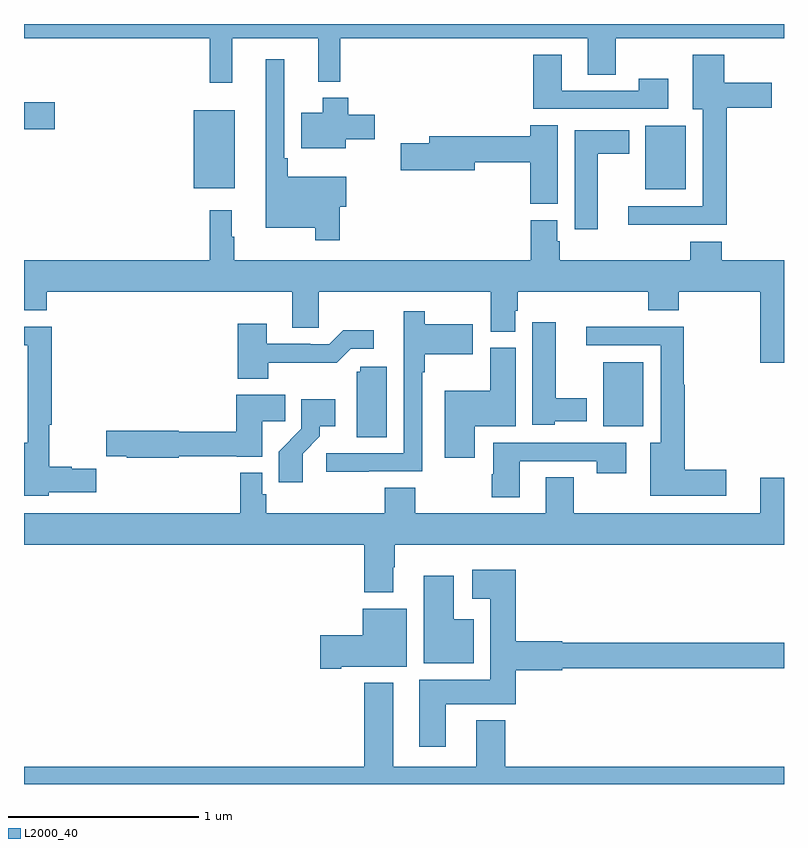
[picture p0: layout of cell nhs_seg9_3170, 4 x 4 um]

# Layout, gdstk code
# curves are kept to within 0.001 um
import gdstk
lib = gdstk.Library(unit=1e-6, precision=1e-09)
def R(c, l, rs):  # rectangles x0, y0, x1, y1
    for r in rs: c.add(gdstk.rectangle(r[:2], r[2:], *l))
def P(c, l, *ps):  # polygons
    for p in ps: c.add(gdstk.Polygon(p, *l))
L2000_40 = (2000, 40)

nhs_seg9_3170 = lib.new_cell('nhs_seg9_3170')
R(nhs_seg9_3170, L2000_40, [(296.048,1190.384,296.26,1190.719), (296.27,1191.629,296.482,1191.964), (293.894,1191.635,294.109,1192.045), (293,1191.947,293.161,1192.089)])
P(nhs_seg9_3170, L2000_40, [(294.095,1192.424),(294.548,1192.424),(294.548,1192.196),(294.665,1192.196),(294.665,1192.424),(295.967,1192.424),(295.967,1192.234),(296.115,1192.234),(296.115,1192.424),(297,1192.424),(297,1192.5),(293,1192.5),(293,1192.424),(293.977,1192.424),(293.977,1192.191),(294.095,1192.191)],
  [(296.699,1192.058),(296.935,1192.058),(296.935,1192.192),(296.686,1192.192),(296.686,1192.339),(296.519,1192.339),(296.519,1192.052),(296.573,1192.052),(296.573,1191.54),(296.181,1191.54),(296.181,1191.443),(296.699,1191.443)],
  [(296.392,1192.213),(296.236,1192.213),(296.236,1192.149),(295.831,1192.149),(295.831,1192.339),(295.679,1192.339),(295.679,1192.053),(296.392,1192.053)],
  [(294.662,1191.539),(294.697,1191.539),(294.697,1191.697),(294.389,1191.697),(294.389,1191.793),(294.369,1191.793),(294.369,1192.315),(294.272,1192.315),(294.272,1191.428),(294.534,1191.428),(294.534,1191.363),(294.662,1191.363)],
  [(294.694,1191.893),(294.847,1191.893),(294.847,1192.023),(294.707,1192.023),(294.707,1192.111),(294.572,1192.111),(294.572,1192.033),(294.458,1192.033),(294.458,1191.845),(294.694,1191.845)],
  [(295.81,1191.968),(295.664,1191.968),(295.664,1191.908),(295.133,1191.908),(295.133,1191.872),(294.984,1191.872),(294.984,1191.73),(295.372,1191.73),(295.372,1191.772),(295.664,1191.772),(295.664,1191.553),(295.81,1191.553)],
  [(296.02,1191.818),(296.185,1191.818),(296.185,1191.94),(295.898,1191.94),(295.898,1191.42),(296.02,1191.42)],
  [(297,1191.256),(296.672,1191.256),(296.672,1191.355),(296.507,1191.355),(296.507,1191.256),(295.82,1191.256),(295.82,1191.357),(295.807,1191.357),(295.807,1191.468),(295.667,1191.468),(295.667,1191.256),(294.106,1191.256),(294.106,1191.38),(294.094,1191.38),(294.094,1191.52),(293.977,1191.52),(293.977,1191.256),(293,1191.256),(293,1190.993),(293.12,1190.993),(293.12,1191.092),(294.413,1191.092),(294.413,1190.902),(294.552,1190.902),(294.552,1191.092),(295.457,1191.092),(295.457,1190.881),(295.585,1190.881),(295.585,1190.991),(295.598,1190.991),(295.598,1191.092),(296.285,1191.092),(296.285,1190.993),(296.445,1190.993),(296.445,1191.092),(296.876,1191.092),(296.876,1190.718),(297,1190.718)],
  [(294.815,1190.145),(295.095,1190.145),(295.095,1190.666),(295.108,1190.666),(295.108,1190.762),(295.363,1190.762),(295.363,1190.92),(295.108,1190.92),(295.108,1190.989),(294.998,1190.989),(294.998,1190.766),(294.999,1190.766),(294.999,1190.241),(294.591,1190.241),(294.591,1190.143),(294.815,1190.143)],
  [(295.794,1190.408),(295.963,1190.408),(295.963,1190.53),(295.798,1190.53),(295.798,1190.929),(295.676,1190.929),(295.676,1190.39),(295.794,1190.39)],
  [(294.285,1190.718),(294.647,1190.717),(294.72,1190.79),(294.841,1190.79),(294.841,1190.887),(294.679,1190.887),(294.606,1190.814),(294.506,1190.814),(294.506,1190.817),(294.277,1190.817),(294.277,1190.923),(294.125,1190.923),(294.125,1190.633),(294.285,1190.633)],
  [(293.13,1190.036),(293.38,1190.036),(293.38,1190.159),(293.25,1190.159),(293.25,1190.171),(293.134,1190.171),(293.134,1190.392),(293.147,1190.392),(293.147,1190.906),(293,1190.906),(293,1190.808),(293.021,1190.808),(293.021,1190.296),(293,1190.296),(293,1190.018),(293.13,1190.018)],
  [(296.695,1190.153),(296.477,1190.153),(296.477,1190.601),(296.472,1190.601),(296.472,1190.906),(295.959,1190.906),(295.959,1190.808),(296.351,1190.808),(296.351,1190.296),(296.297,1190.296),(296.297,1190.018),(296.695,1190.018)],
  [(295.372,1190.384),(295.588,1190.384),(295.588,1190.796),(295.454,1190.796),(295.454,1190.569),(295.214,1190.569),(295.214,1190.217),(295.372,1190.217)],
  [(294.91,1190.697),(294.771,1190.697),(294.771,1190.67),(294.752,1190.67),(294.752,1190.326),(294.91,1190.326)],
  [(293.814,1190.226),(294.12,1190.226),(294.12,1190.222),(294.253,1190.222),(294.253,1190.41),(294.374,1190.41),(294.374,1190.548),(294.116,1190.548),(294.116,1190.354),(293.814,1190.354),(293.814,1190.36),(293.432,1190.36),(293.432,1190.226),(293.542,1190.226),(293.542,1190.218),(293.814,1190.218)],
  [(294.466,1190.239),(294.556,1190.329),(294.556,1190.384),(294.637,1190.384),(294.637,1190.524),(294.459,1190.524),(294.459,1190.369),(294.34,1190.25),(294.34,1190.088),(294.466,1190.088)],
  [(295.609,1190.199),(296.014,1190.199),(296.014,1190.136),(296.17,1190.136),(296.17,1190.295),(295.469,1190.295),(295.469,1190.129),(295.462,1190.129),(295.462,1190.01),(295.609,1190.01)],
  [(294.943,1189.64),(294.951,1189.64),(294.951,1189.76),(297,1189.76),(297,1190.113),(296.876,1190.113),(296.876,1189.924),(295.893,1189.924),(295.893,1190.114),(295.745,1190.114),(295.745,1189.924),(295.059,1189.924),(295.059,1190.06),(294.899,1190.06),(294.899,1189.924),(294.275,1189.924),(294.275,1190.025),(294.255,1190.025),(294.255,1190.137),(294.139,1190.137),(294.139,1189.924),(293,1189.924),(293,1189.76),(294.791,1189.76),(294.791,1189.508),(294.943,1189.508)],
  [(295.219,1188.92),(295.589,1188.92),(295.589,1189.1),(295.833,1189.1),(295.833,1189.108),(297,1189.108),(297,1189.244),(295.833,1189.244),(295.833,1189.252),(295.589,1189.252),(295.589,1189.627),(295.359,1189.627),(295.359,1189.475),(295.454,1189.475),(295.454,1189.048),(295.079,1189.048),(295.079,1188.696),(295.219,1188.696)],
  [(295.366,1189.366),(295.261,1189.366),(295.261,1189.597),(295.103,1189.597),(295.103,1189.136),(295.366,1189.136)],
  [(294.67,1189.118),(295.015,1189.118),(295.015,1189.423),(294.782,1189.423),(294.782,1189.284),(294.558,1189.284),(294.558,1189.106),(294.67,1189.106)],
  [(297,1188.592),(295.532,1188.592),(295.532,1188.835),(295.379,1188.835),(295.379,1188.592),(294.943,1188.592),(294.943,1189.033),(294.791,1189.033),(294.791,1188.592),(293,1188.592),(293,1188.5),(297,1188.5)])

lib.write_gds('nhs_seg9_3170.gds')
